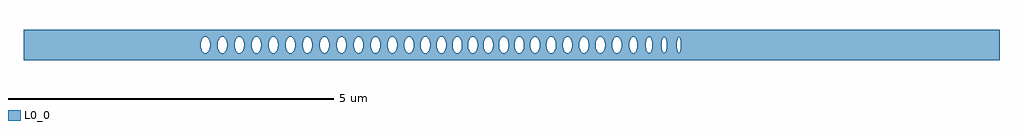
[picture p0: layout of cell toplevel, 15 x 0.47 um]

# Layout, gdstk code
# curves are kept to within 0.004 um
import gdstk
lib = gdstk.Library(unit=1e-6, precision=1e-09)
def P(c, l, *ps):  # polygons
    for p in ps: c.add(gdstk.Polygon(p, *l))
L0_0 = (0, 0)

toplevel = lib.new_cell('toplevel')
P(toplevel, L0_0, [(-0.369,-0.234),(-0.369,-0.125),(-0.391,-0.112),(-0.409,-0.087),(-0.428,-0.016),(-0.425,0.039),(-0.412,0.081),(-0.395,0.108),(-0.369,0.125),(-0.369,0.234),(-1.004,0.234),(-1.004,0),(-0.906,0),(-0.901,0.047),(-0.883,0.093),(-0.86,0.119),(-0.833,0.128),(-0.807,0.119),(-0.78,0.087),(-0.764,0.039),(-0.761,-0.008),(-0.666,-0.008),(-0.661,0.047),(-0.643,0.093),(-0.62,0.119),(-0.594,0.128),(-0.567,0.119),(-0.547,0.098),(-0.532,0.068),(-0.521,0.008),(-0.526,-0.047),(-0.544,-0.093),(-0.567,-0.119),(-0.594,-0.128),(-0.62,-0.119),(-0.64,-0.098),(-0.655,-0.068),(-0.666,-0.008),(-0.761,-0.008),(-0.764,-0.039),(-0.78,-0.087),(-0.807,-0.119),(-0.833,-0.128),(-0.86,-0.119),(-0.883,-0.093),(-0.901,-0.047),(-0.906,0),(-1.004,0),(-1.004,-0.234)],
  [(-4.514,0.024),(-4.505,0.068),(-4.478,0.112),(-4.478,0.234),(-7.5,0.234),(-7.5,-0.016),(-4.777,-0.016),(-4.775,0.032),(-4.764,0.075),(-4.74,0.112),(-4.705,0.128),(-4.678,0.119),(-4.655,0.093),(-4.641,0.061),(-4.633,0.016),(-4.635,-0.032),(-4.646,-0.075),(-4.67,-0.112),(-4.705,-0.128),(-4.732,-0.119),(-4.751,-0.098),(-4.764,-0.075),(-4.777,-0.016),(-7.5,-0.016),(-7.5,-0.234),(-4.478,-0.234),(-4.478,-0.112),(-4.493,-0.093),(-4.511,-0.047)],
  [(-4.47,0.119),(-4.443,0.128),(-4.43,0.125),(-4.397,0.098),(-4.376,0.047),(-4.371,-0.008),(-4.382,-0.068),(-4.409,-0.112),(-4.443,-0.128),(-4.478,-0.112),(-4.478,-0.234),(-4.173,-0.234),(-4.173,-0.126),(-4.195,-0.125),(-4.221,-0.108),(-4.243,-0.068),(-4.254,-0.016),(-4.251,0.039),(-4.235,0.087),(-4.208,0.119),(-4.173,0.126),(-4.173,0.234),(-4.478,0.234),(-4.478,0.112)],
  [(-4.112,-0.032),(-4.132,-0.093),(-4.155,-0.119),(-4.173,-0.126),(-4.173,-0.234),(-3.881,-0.234),(-3.881,-0.108),(-3.92,-0.128),(-3.955,-0.112),(-3.979,-0.075),(-3.993,-0.008),(-3.984,0.061),(-3.959,0.108),(-3.947,0.119),(-3.92,0.128),(-3.881,0.108),(-3.881,0.234),(-4.173,0.234),(-4.173,0.126),(-4.143,0.108),(-4.123,0.075),(-4.11,0.016)],
  [(-3.586,-0.008),(-3.591,-0.047),(-3.609,-0.093),(-3.632,-0.119),(-3.659,-0.128),(-3.685,-0.119),(-3.705,-0.098),(-3.72,-0.068),(-3.731,-0.016),(-3.728,0.039),(-3.717,0.075),(-3.694,0.112),(-3.659,0.128),(-3.632,0.119),(-3.609,0.093),(-3.591,0.047),(-3.586,0.008),(-3.586,0.234),(-3.881,0.234),(-3.881,0.108),(-3.859,0.068),(-3.848,0.016),(-3.853,-0.047),(-3.864,-0.081),(-3.881,-0.108),(-3.881,-0.234),(-3.586,-0.234)],
  [(-3.204,-0.234),(-3.204,0.234),(-3.586,0.234),(-3.586,0),(-3.47,0),(-3.463,0.054),(-3.447,0.093),(-3.424,0.119),(-3.397,0.128),(-3.371,0.119),(-3.351,0.098),(-3.336,0.068),(-3.325,0.016),(-3.328,-0.039),(-3.341,-0.081),(-3.362,-0.112),(-3.397,-0.128),(-3.424,-0.119),(-3.447,-0.093),(-3.463,-0.054),(-3.47,0),(-3.586,0),(-3.586,-0.234)],
  [(-3.197,0.068),(-3.182,0.098),(-3.162,0.119),(-3.136,0.128),(-3.109,0.119),(-3.089,0.098),(-3.074,0.068),(-3.063,-0.008),(-3.068,-0.047),(-3.086,-0.093),(-3.109,-0.119),(-3.131,-0.127),(-3.154,-0.123),(-3.174,-0.108),(-3.194,-0.075),(-3.204,-0.039),(-3.204,-0.234),(-2.896,-0.234),(-2.896,-0.121),(-2.913,-0.108),(-2.933,-0.075),(-2.946,-0.016),(-2.944,0.032),(-2.933,0.075),(-2.913,0.108),(-2.896,0.121),(-2.896,0.234),(-3.204,0.234),(-3.204,0.039)],
  [(-2.804,-0.032),(-2.815,-0.075),(-2.839,-0.112),(-2.874,-0.128),(-2.896,-0.121),(-2.896,-0.234),(-2.566,-0.234),(-2.566,-0.098),(-2.599,-0.125),(-2.612,-0.128),(-2.639,-0.119),(-2.659,-0.098),(-2.674,-0.068),(-2.685,-0.008),(-2.674,0.068),(-2.647,0.112),(-2.612,0.128),(-2.586,0.119),(-2.566,0.098),(-2.566,0.234),(-2.896,0.234),(-2.896,0.121),(-2.874,0.128),(-2.86,0.125),(-2.839,0.112),(-2.824,0.093),(-2.805,0.039)],
  [(-2.542,-0.032),(-2.566,-0.098),(-2.566,-0.234),(-2.16,-0.234),(-2.16,0.234),(-2.566,0.234),(-2.566,0.098),(-2.545,0.047),(-2.541,-0.016),(-2.423,-0.016),(-2.421,0.032),(-2.41,0.075),(-2.386,0.112),(-2.351,0.128),(-2.324,0.119),(-2.301,0.093),(-2.287,0.061),(-2.279,0.016),(-2.281,-0.032),(-2.292,-0.075),(-2.316,-0.112),(-2.351,-0.128),(-2.378,-0.119),(-2.397,-0.098),(-2.41,-0.075),(-2.423,-0.016),(-2.541,-0.016)],
  [(-2.021,-0.039),(-2.031,-0.075),(-2.047,-0.103),(-2.063,-0.119),(-2.09,-0.128),(-2.117,-0.119),(-2.129,-0.108),(-2.146,-0.081),(-2.16,-0.032),(-2.16,-0.234),(-1.877,-0.234),(-1.877,-0.098),(-1.892,-0.068),(-1.903,-0.016),(-1.9,0.039),(-1.877,0.098),(-1.877,0.234),(-2.16,0.234),(-2.16,0.032),(-2.146,0.081),(-2.125,0.112),(-2.09,0.128),(-2.063,0.119),(-2.04,0.093),(-2.024,0.054),(-2.018,0.016)],
  [(-1.87,0.108),(-1.831,0.128),(-1.796,0.112),(-1.767,0.061),(-1.758,0),(-1.772,-0.075),(-1.804,-0.119),(-1.831,-0.128),(-1.844,-0.125),(-1.877,-0.098),(-1.877,-0.234),(-1.57,-0.234),(-1.57,-0.127),(-1.602,-0.119),(-1.625,-0.093),(-1.647,-0.016),(-1.644,0.039),(-1.625,0.093),(-1.602,0.119),(-1.57,0.127),(-1.57,0.234),(-1.877,0.234),(-1.877,0.098)],
  [(-1.505,-0.032),(-1.525,-0.093),(-1.548,-0.119),(-1.57,-0.127),(-1.57,-0.234),(-1.265,-0.234),(-1.265,-0.075),(-1.297,-0.119),(-1.323,-0.128),(-1.35,-0.119),(-1.382,-0.075),(-1.396,-0.008),(-1.391,0.047),(-1.382,0.075),(-1.35,0.119),(-1.323,0.128),(-1.297,0.119),(-1.265,0.075),(-1.265,0.234),(-1.57,0.234),(-1.57,0.127),(-1.54,0.112),(-1.516,0.075),(-1.503,0.016)],
  [(-1.004,-0.016),(-1.015,-0.068),(-1.03,-0.098),(-1.05,-0.119),(-1.076,-0.128),(-1.103,-0.119),(-1.126,-0.093),(-1.144,-0.047),(-1.149,0),(-1.144,0.047),(-1.126,0.093),(-1.103,0.119),(-1.076,0.128),(-1.05,0.119),(-1.03,0.098),(-1.015,0.068),(-1.004,0.016),(-1.004,0.234),(-1.265,0.234),(-1.265,0.075),(-1.251,0.008),(-1.254,-0.039),(-1.265,-0.075),(-1.265,-0.234),(-1.004,-0.234)],
  [(-0.286,-0.032),(-0.297,-0.075),(-0.317,-0.108),(-0.342,-0.125),(-0.369,-0.125),(-0.369,-0.234),(-0.096,-0.234),(-0.096,-0.121),(-0.119,-0.128),(-0.145,-0.119),(-0.157,-0.108),(-0.18,-0.068),(-0.191,-0.008),(-0.186,0.047),(-0.165,0.098),(-0.132,0.125),(-0.119,0.128),(-0.096,0.121),(-0.096,0.234),(-0.369,0.234),(-0.369,0.125),(-0.356,0.128),(-0.329,0.119),(-0.306,0.093),(-0.287,0.039)],
  [(0.176,-0.081),(0.159,-0.108),(0.138,-0.123),(0.12,-0.128),(0.093,-0.119),(0.061,-0.075),(0.047,0),(0.061,0.075),(0.093,0.119),(0.12,0.128),(0.138,0.123),(0.159,0.108),(0.176,0.081),(0.176,0.234),(-0.096,0.234),(-0.096,0.121),(-0.072,0.098),(-0.06,0.075),(-0.046,0.008),(-0.057,-0.068),(-0.072,-0.098),(-0.096,-0.121),(-0.096,-0.234),(0.176,-0.234)],
  [(0.537,-0.008),(0.538,0.234),(0.176,0.234),(0.176,0.08),(0.189,0.039),(0.192,-0.016),(0.29,-0.016),(0.292,0.032),(0.303,0.075),(0.327,0.112),(0.362,0.128),(0.389,0.119),(0.412,0.093),(0.428,0.054),(0.434,0.016),(0.432,-0.032),(0.421,-0.075),(0.397,-0.112),(0.362,-0.128),(0.335,-0.119),(0.312,-0.093),(0.296,-0.054),(0.29,-0.016),(0.192,-0.016),(0.176,-0.081),(0.176,-0.234),(0.538,-0.234)],
  [(0.541,0.039),(0.551,0.075),(0.571,0.108),(0.596,0.125),(0.623,0.125),(0.648,0.108),(0.668,0.075),(0.68,0.032),(0.682,-0.008),(0.671,-0.068),(0.656,-0.098),(0.636,-0.119),(0.609,-0.128),(0.583,-0.119),(0.563,-0.098),(0.548,-0.068),(0.538,-0.024),(0.538,-0.234),(0.834,-0.234),(0.834,-0.119),(0.802,-0.075),(0.788,-0.008),(0.793,0.047),(0.802,0.075),(0.834,0.119),(0.834,0.234),(0.538,0.234)],
  [(0.931,-0.032),(0.919,-0.075),(0.896,-0.112),(0.861,-0.128),(0.834,-0.119),(0.834,-0.234),(1.148,-0.234),(1.148,-0.112),(1.113,-0.128),(1.078,-0.112),(1.054,-0.075),(1.041,-0.016),(1.046,0.047),(1.054,0.075),(1.074,0.108),(1.086,0.119),(1.113,0.128),(1.148,0.112),(1.148,0.234),(0.834,0.234),(0.834,0.119),(0.861,0.128),(0.874,0.125),(0.907,0.098),(0.931,0.032)],
  [(1.438,-0.008),(1.427,-0.068),(1.412,-0.098),(1.392,-0.119),(1.365,-0.128),(1.339,-0.119),(1.319,-0.098),(1.304,-0.068),(1.293,-0.008),(1.298,0.047),(1.316,0.093),(1.339,0.119),(1.365,0.128),(1.392,0.119),(1.412,0.098),(1.427,0.068),(1.438,0.008),(1.438,0.234),(1.148,0.234),(1.148,0.112),(1.172,0.075),(1.185,0.016),(1.179,-0.054),(1.163,-0.093),(1.148,-0.112),(1.148,-0.234),(1.438,-0.234)],
  [(1.825,-0.234),(1.825,-0.08),(1.811,-0.016),(1.815,0.046),(1.825,0.08),(1.825,0.234),(1.438,0.234),(1.438,-0.008),(1.548,-0.008),(1.553,0.047),(1.571,0.093),(1.594,0.119),(1.62,0.128),(1.647,0.119),(1.667,0.098),(1.682,0.068),(1.693,0.008),(1.688,-0.047),(1.67,-0.093),(1.647,-0.119),(1.62,-0.128),(1.594,-0.119),(1.574,-0.098),(1.559,-0.068),(1.548,-0.008),(1.438,-0.008),(1.438,-0.234)],
  [(1.833,0.097),(1.865,0.125),(1.881,0.125),(1.9,0.114),(1.928,0.061),(1.935,-0.016),(1.928,-0.061),(1.916,-0.092),(1.889,-0.122),(1.865,-0.125),(1.85,-0.117),(1.825,-0.08),(1.825,-0.234),(2.093,-0.234),(2.093,-0.112),(2.073,-0.073),(2.063,-0.008),(2.071,0.066),(2.093,0.112),(2.093,0.234),(1.825,0.234),(1.825,0.08)],
  [(2.166,-0.023),(2.157,-0.073),(2.137,-0.112),(2.119,-0.124),(2.093,-0.112),(2.093,-0.234),(2.362,-0.234),(2.362,-0.113),(2.344,-0.122),(2.322,-0.099),(2.31,-0.059),(2.305,-0.008),(2.31,0.059),(2.322,0.099),(2.344,0.122),(2.362,0.113),(2.362,0.234),(2.093,0.234),(2.093,0.112),(2.119,0.124),(2.146,0.1),(2.164,0.046)],
  [(2.388,-0.03),(2.376,-0.089),(2.362,-0.113),(2.362,-0.234),(7.5,-0.234),(7.5,0.234),(2.362,0.234),(2.362,0.113),(2.384,0.059),(2.389,-0.015),(2.54,-0.015),(2.547,0.076),(2.558,0.109),(2.57,0.12),(2.578,0.118),(2.589,0.101),(2.603,0.03),(2.599,-0.064),(2.589,-0.101),(2.574,-0.12),(2.56,-0.112),(2.553,-0.097),(2.54,-0.015),(2.389,-0.015)])

lib.write_gds('toplevel.gds')
